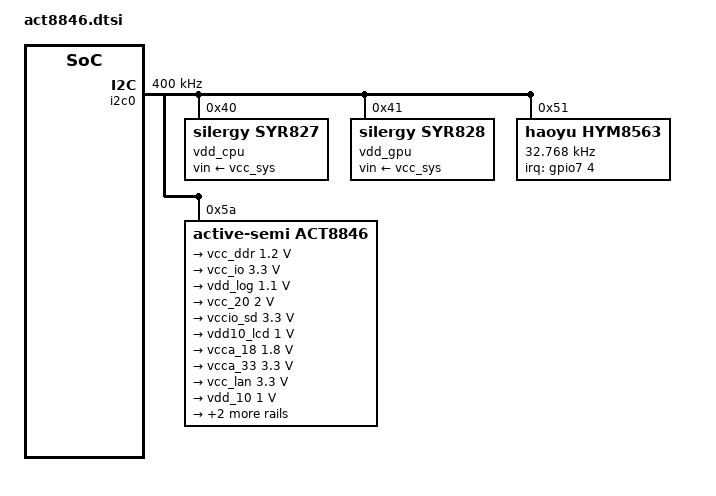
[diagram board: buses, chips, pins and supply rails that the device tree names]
&i2c0 {
	clock-frequency = <400000>;
	status = "okay";

	vdd_cpu: syr827@40 {
		compatible = "silergy,syr827";
		fcs,suspend-voltage-selector = <1>;
		reg = <0x40>;
		regulator-name = "vdd_cpu";
		regulator-min-microvolt = <850000>;
		regulator-max-microvolt = <1350000>;
		regulator-always-on;
		regulator-boot-on;
		vin-supply = <&vcc_sys>;
	};

	vdd_gpu: syr828@41 {
		compatible = "silergy,syr828";
		fcs,suspend-voltage-selector = <1>;
		reg = <0x41>;
		regulator-name = "vdd_gpu";
		regulator-min-microvolt = <850000>;
		regulator-max-microvolt = <1350000>;
		regulator-always-on;
		vin-supply = <&vcc_sys>;
	};

	hym8563: hym8563@51 {
		compatible = "haoyu,hym8563";
		reg = <0x51>;
		#clock-cells = <0>;
		clock-frequency = <32768>;
		clock-output-names = "xin32k";
		interrupt-parent = <&gpio7>;
		interrupts = <4 IRQ_TYPE_EDGE_FALLING>;
		pinctrl-names = "default";
		pinctrl-0 = <&rtc_int>;
	};

	act8846: act8846@5a {
		compatible = "active-semi,act8846";
		reg = <0x5a>;
		pinctrl-names = "default";
		pinctrl-0 = <&pmic_vsel>, <&pwr_hold>;
		system-power-controller;

		regulators {
			vcc_ddr: REG1 {
				regulator-name = "vcc_ddr";
				regulator-min-microvolt = <1200000>;
				regulator-max-microvolt = <1200000>;
				regulator-always-on;
			};

			vcc_io: REG2 {
				regulator-name = "vcc_io";
				regulator-min-microvolt = <3300000>;
				regulator-max-microvolt = <3300000>;
				regulator-always-on;
			};

			vdd_log: REG3 {
				regulator-name = "vdd_log";
				regulator-min-microvolt = <1100000>;
				regulator-max-microvolt = <1100000>;
				regulator-always-on;
			};

			vcc_20: REG4 {
				regulator-name = "vcc_20";
				regulator-min-microvolt = <2000000>;
				regulator-max-microvolt = <2000000>;
				regulator-always-on;
			};

			vccio_sd: REG5 {
				regulator-name = "vccio_sd";
				regulator-min-microvolt = <3300000>;
				regulator-max-microvolt = <3300000>;
				regulator-always-on;
			};

			vdd10_lcd: REG6 {
				regulator-name = "vdd10_lcd";
				regulator-min-microvolt = <1000000>;
				regulator-max-microvolt = <1000000>;
				regulator-always-on;
			};

			vcca_18: REG7 {
				regulator-name = "vcca_18";
				regulator-min-microvolt = <1800000>;
				regulator-max-microvolt = <1800000>;
			};

			vcca_33: REG8 {
				regulator-name = "vcca_33";
				regulator-min-microvolt = <3300000>;
				regulator-max-microvolt = <3300000>;
			};

			vcc_lan: REG9 {
				regulator-name = "vcc_lan";
				regulator-min-microvolt = <3300000>;
				regulator-max-microvolt = <3300000>;
			};

			vdd_10: REG10 {
				regulator-name = "vdd_10";
				regulator-min-microvolt = <1000000>;
				regulator-max-microvolt = <1000000>;
				regulator-always-on;
			};

			vcc_18: REG11 {
				regulator-name = "vcc_18";
				regulator-min-microvolt = <1800000>;
				regulator-max-microvolt = <1800000>;
				regulator-always-on;
			};

			vcc18_lcd: REG12 {
				regulator-name = "vcc18_lcd";
				regulator-min-microvolt = <1800000>;
				regulator-max-microvolt = <1800000>;
				regulator-always-on;
			};
		};
	};
};
